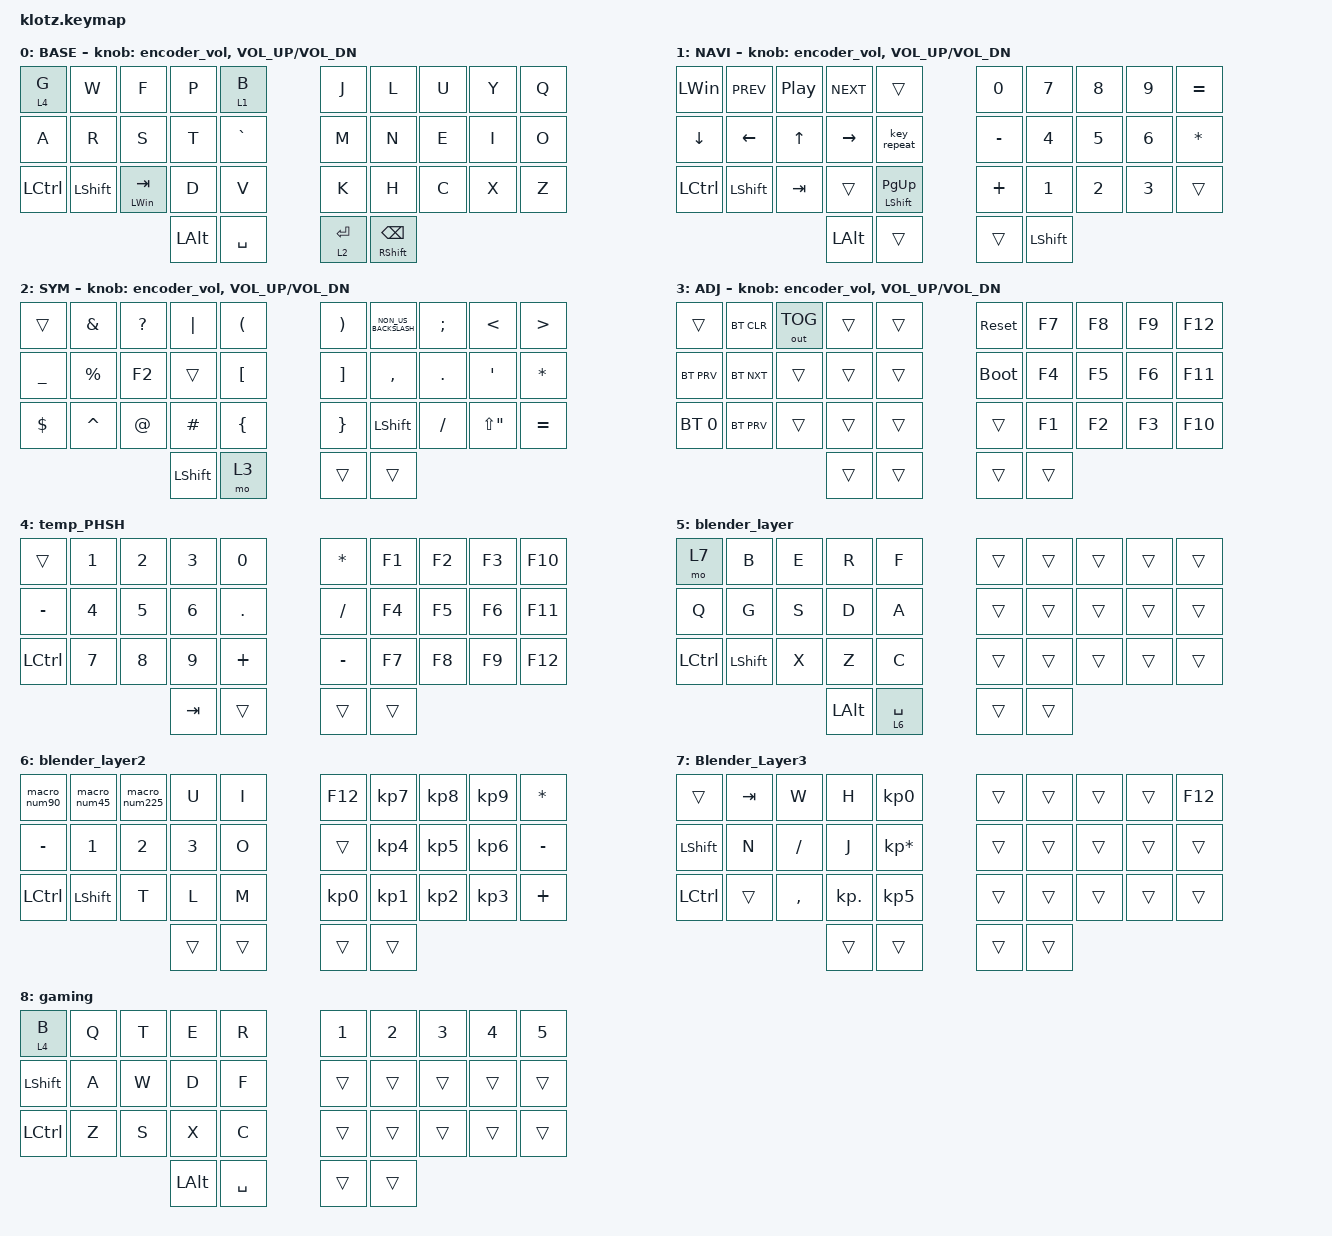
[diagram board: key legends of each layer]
#include <dt-bindings/zmk/mouse.h>
#include <behaviors.dtsi>
#include <dt-bindings/zmk/bt.h>
#include <dt-bindings/zmk/keys.h>
#include <dt-bindings/zmk/outputs.h>

#define BASE 0
#define MIRROR 1
#define NAV  2
#define SYM  3
#define ADJ  4
#define PHSH 5
#define PROG 6

&sl { /delete-property/ quick-release; };

&sk { quick-release; };

/ {
    combos {
        compatible = "zmk,combos";

        combo_esc {
            timeout-ms = <35>;
            key-positions = <0 1>;
            bindings = <&kp ESC>;
        };

        compatible = "zmk,combos";

        combo_bspc {
            timeout-ms = <35>;
            key-positions = <3 2>;
            bindings = <&kp BSPC>;
        };

        compatible = "zmk,combos";

        combo_del {
            timeout-ms = <35>;
            key-positions = <3 4>;
            bindings = <&kp DEL>;
        };

        compatible = "zmk,combos";

        combo_ctrlz {
            timeout-ms = <35>;
            key-positions = <20 21>;
            bindings = <&macro_crtlz>;
        };

        compatible = "zmk,combos";

        combo_ctrlshftz {
            timeout-ms = <35>;
            key-positions = <20 21 31>;
            bindings = <&macro_crtlshftz>;
        };

        compatible = "zmk,combos";

        combo_ctrlx {
            timeout-ms = <35>;
            key-positions = <21 22>;
            bindings = <&macro_crtlx>;
        };

        compatible = "zmk,combos";

        combo_ctrlc {
            timeout-ms = <35>;
            key-positions = <22 23>;
            bindings = <&macro_crtlc>;
        };

        compatible = "zmk,combos";

        combo_ctrlv {
            timeout-ms = <35>;
            key-positions = <21 23>;
            bindings = <&macro_crtlv>;
        };

        Enter {
            bindings = <&kp RET>;
            key-positions = <12 14>;
            timeout-ms = <35>;
        };

        ctrlshftv {
            bindings = <&macro_ctrlshftv>;
            key-positions = <23 21 30>;
            timeout-ms = <35>;
        };

        home {
            bindings = <&to 0>;
            key-positions = <0 31>;
            timeout-ms = <35>;
        };

        Combo_ctrlbkspc {
            bindings = <&Macro_ctrlbkspc>;
            key-positions = <1 2>;
            timeout-ms = <35>;
        };

        combo_ctrlj {
            bindings = <&macro_ctrlj>;
            key-positions = <24 23>;
            timeout-ms = <35>;
        };

        pausebreak_prnt {
            bindings = <&kp PRINTSCREEN>;
            key-positions = <4 12>;
            timeout-ms = <35>;
        };

        fullstop {
            bindings = <&kp PERIOD>;
            key-positions = <17 18>;
            timeout-ms = <35>;
        };

        comma {
            bindings = <&kp COMMA>;
            key-positions = <17 16>;
            timeout-ms = <35>;
        };

        exclaimation {
            bindings = <&kp EXCLAMATION>;
            key-positions = <8 6>;
            timeout-ms = <35>;
        };

        questionmark {
            bindings = <&kp QUESTION>;
            key-positions = <6 7>;
            timeout-ms = <35>;
        };

        colon {
            bindings = <&kp COLON>;
            key-positions = <18 16>;
            timeout-ms = <35>;
        };

        fwd_slash {
            bindings = <&kp SLASH>;
            key-positions = <5 6>;
            timeout-ms = <35>;
        };

        dash_undrscore {
            bindings = <&kp MINUS>;
            key-positions = <27 28>;
            timeout-ms = <35>;
        };

        apostrophe {
            bindings = <&kp APOSTROPHE>;
            key-positions = <8 7>;
        };

        underscore {
            bindings = <&kp UNDERSCORE>;
            key-positions = <28 26>;
            timeout-ms = <35>;
        };

        nav {
            bindings = <&to 1>;
            key-positions = <1 31>;
            timeout-ms = <35>;
        };

        combo_ctrlo {
            bindings = <&macro_ctrlo>;
            key-positions = <20 14>;
            timeout-ms = <35>;
        };

        combo_ctrln {
            bindings = <&macro_ctrln>;
            key-positions = <20 4>;
            timeout-ms = <35>;
        };

        blender {
            bindings = <&to 5>;
            key-positions = <10 31>;
            timeout-ms = <35>;
        };

        combo_ctrlq {
            bindings = <&macro_ctrlq>;
            key-positions = <0 20>;
            timeout-ms = <35>;
        };

        win_e {
            bindings = <&macro_win_e>;
            key-positions = <4 0>;
            timeout-ms = <35>;
        };

        combo_ctrlshftc {
            bindings = <&macro_ctrlshftc>;
            key-positions = <23 30 22>;
            timeout-ms = <35>;
        };

        gaming {
            bindings = <&to 8>;
            key-positions = <31 4>;
        };
    };

    macros {
        tabcw: tabcw {
            compatible = "zmk,behavior-macro";
            #binding-cells = <0>;
            bindings = <&macro_tap>, <&kp TAB>;
        };

        tabccw: tabccw {
            compatible = "zmk,behavior-macro";
            #binding-cells = <0>;
            bindings =
                <&macro_press>,
                <&kp LSHFT>,
                <&macro_tap>,
                <&kp TAB>,
                <&macro_release>,
                <&kp LSHFT>;
        };

        macro_crtlz: macro_ctrlz {
            compatible = "zmk,behavior-macro";
            #binding-cells = <0>;
            bindings =
                <&macro_press>,
                <&kp LCTRL>,
                <&macro_tap>,
                <&kp Z>,
                <&macro_release>,
                <&kp LCTRL>;
        };

        macro_crtlshftz: macro_ctrlshftz {
            compatible = "zmk,behavior-macro";
            #binding-cells = <0>;
            bindings =
                <&macro_press>,
                <&kp LCTRL>,
                <&macro_press>,
                <&kp LSHFT>,
                <&macro_tap>,
                <&kp Z>,
                <&macro_release>,
                <&kp LCTRL>,
                <&macro_release>,
                <&kp LSHFT>;
        };

        macro_crtlx: macro_ctrlx {
            compatible = "zmk,behavior-macro";
            #binding-cells = <0>;
            bindings =
                <&macro_press>,
                <&kp LCTRL>,
                <&macro_tap>,
                <&kp X>,
                <&macro_release>,
                <&kp LCTRL>;
        };

        macro_crtlc: macro_ctrlc {
            compatible = "zmk,behavior-macro";
            #binding-cells = <0>;
            bindings =
                <&macro_press>,
                <&kp LCTRL>,
                <&macro_tap>,
                <&kp C>,
                <&macro_release>,
                <&kp LCTRL>;
        };

        macro_crtlv: macro_ctrlv {
            compatible = "zmk,behavior-macro";
            #binding-cells = <0>;
            bindings =
                <&macro_press>,
                <&kp LCTRL>,
                <&macro_tap>,
                <&kp V>,
                <&macro_release>,
                <&kp LCTRL>;
        };

        macro_ctrlshftv: macro_ctrlshftv {
            compatible = "zmk,behavior-macro";
            #binding-cells = <0>;
            bindings =
                <&macro_press>,
                <&kp LCTRL>,
                <&macro_press>,
                <&kp LSHFT>,
                <&macro_tap>,
                <&kp V>,
                <&macro_release>,
                <&kp LCTRL>,
                <&macro_release>,
                <&kp LSHFT>;

            label = "MACRO_CTRLSHFTV";
        };

        macro_ctrlshftc: macro_ctrlshftc {
            compatible = "zmk,behavior-macro";
            #binding-cells = <0>;
            bindings =
                <&macro_press>,
                <&kp LCTRL>,
                <&macro_press>,
                <&kp LSHFT>,
                <&macro_tap>,
                <&kp C>,
                <&macro_release>,
                <&kp LCTRL>,
                <&macro_release>,
                <&kp LSHFT>;

            label = "MACRO_CTRLSHFTC";
        };

        Macro_ctrlbkspc: Macro_ctrlbkspc {
            compatible = "zmk,behavior-macro";
            #binding-cells = <0>;
            bindings =
                <&macro_press>,
                <&kp LCTRL>,
                <&macro_tap>,
                <&kp BACKSPACE>,
                <&macro_release>,
                <&kp LCTRL>;

            label = "MACRO_CTRLBKSPC";
        };

        macro_ctrlj: macro_ctrlj {
            compatible = "zmk,behavior-macro";
            #binding-cells = <0>;
            bindings =
                <&macro_press>,
                <&kp LCTRL>,
                <&macro_tap>,
                <&kp J>,
                <&macro_release>,
                <&kp LCTRL>;

            label = "MACRO_CTRLJ";
        };

        macro_ctrlo: macro_ctrlo {
            compatible = "zmk,behavior-macro";
            #binding-cells = <0>;
            bindings =
                <&macro_press>,
                <&kp LCTRL>,
                <&macro_tap>,
                <&kp O>,
                <&macro_release>,
                <&kp LCTRL>;

            label = "MACRO_CTRLO";
        };

        macro_ctrln: macro_ctrln {
            compatible = "zmk,behavior-macro";
            #binding-cells = <0>;
            bindings =
                <&macro_press>,
                <&kp LCTRL>,
                <&macro_tap>,
                <&kp N>,
                <&macro_release>,
                <&kp LCTRL>;

            label = "MACRO_CTRLN";
        };

        macro_num225: macro_num225 {
            compatible = "zmk,behavior-macro";
            #binding-cells = <0>;
            bindings = <&kp N2 &kp N2 &kp DOT &kp N5>;
            label = "MACRO_NUM225";
        };

        macro_num45: macro_num45 {
            compatible = "zmk,behavior-macro";
            #binding-cells = <0>;
            bindings = <&kp N4 &kp N5>;
            label = "MACRO_NUM45";
        };

        macro_num90: macro_num90 {
            compatible = "zmk,behavior-macro";
            #binding-cells = <0>;
            bindings = <&kp N9 &kp N0>;
            label = "MACRO_NUM90";
        };

        macro_ctrlq: macro_ctrlq {
            compatible = "zmk,behavior-macro";
            #binding-cells = <0>;
            bindings =
                <&macro_press>,
                <&kp LCTRL>,
                <&macro_tap>,
                <&kp Q>,
                <&macro_release>,
                <&kp LCTRL>;

            label = "MACRO_CTRLQ";
        };

        macro_alttab: macro_alttab {
            compatible = "zmk,behavior-macro";
            #binding-cells = <0>;
            bindings =
                <&macro_press>,
                <&kp LEFT_ALT>,
                <&macro_tap>,
                <&kp TAB>,
                <&macro_release>,
                <&kp LEFT_ALT>;

            label = "MACRO_ALTTAB";
        };

        macro_backward: macro_backward {
            compatible = "zmk,behavior-macro";
            #binding-cells = <0>;
            bindings =
                <&macro_press>,
                <&kp LEFT_ALT>,
                <&macro_tap>,
                <&kp LEFT>,
                <&macro_release>,
                <&kp LEFT_ALT>;

            label = "MACRO_BACKWARD";
        };

        macro_win_e: macro_win_e {
            compatible = "zmk,behavior-macro";
            #binding-cells = <0>;
            bindings =
                <&macro_press>,
                <&kp LEFT_WIN>,
                <&macro_tap>,
                <&kp E>,
                <&macro_release>,
                <&kp LEFT_WIN>;

            label = "MACRO_WIN_E";
        };
    };

    behaviors {
        encoder_vol: encoder_vol {
            compatible = "zmk,behavior-sensor-rotate";
            #sensor-binding-cells = <0>;
            bindings = <&kp C_VOL_UP>, <&kp C_VOL_DN>;

            label = "ENCODER_VOL";
        };

        ct: custom_tap {
            compatible = "zmk,behavior-hold-tap";
            #binding-cells = <2>;
            flavor = "balanced";
            bindings = <&kp>, <&kp>;

            tapping-term-ms = <200>;
            quick-tap-ms = <150>;
            require-prior-idle-ms = <100>;
        };
    };

    keymap {
        compatible = "zmk,keymap";

        // ▄▄▄▄▄▄▄▄▄▄▄▄▄▄▄▄▄▄▄▄▄▄▄▄▄▄▄▄▄▄▄▄▄▄▄▄▄▄▄▄▄▄▄▄▄▄▄▄▄▄▄▄▄▄▄▄▄▄▄▄▄▄▄▄▄▄▄▄▄▄▄▄▄▄▄▄▄▄▄▄▄▄▄▄▄▄▄▄▄▄▄▄▄▄▄▄▄▄▄▄▄▄▄▄▄▄▄▄▄▄▄▄▄▄▄▄▄▄▄▄▄▄▄▄▄

        base_layer {
            // ┏━━━━━━━━━━━━━━━━━━━━━━━━━━━━━━━━━━━━━━━┓

            display-name = "BASE";

            // ┗━━━━━━━━━━━━━━━━━━━━━━━━━━━━━━━━━━━━━━━┛
            // ┏━━━━━━━━━━━┳━━━━━━━━━━━┳━━━━━━━━━━━┳━━━━━━━━━━━┳━━━━━━━━━━━┓   ┏━━━━━━━━━━━┳━━━━━━━━━━━┳━━━━━━━━━━━┳━━━━━━━━━━━┳━━━━━━━━━━━┓
            // ┃    LGUI   ┃     W     ┃     F     ┃     P     ┃     B     ┃   ┃     J     ┃     L     ┃     U     ┃     Y     ┃     Q     ┃
            // ┣━━━━━━━━━━━╋━━━━━━━━━━━╋━━━━━━━━━━━╋━━━━━━━━━━━╋━━━━━━━━━━━┫   ┣━━━━━━━━━━━╋━━━━━━━━━━━╋━━━━━━━━━━━╋━━━━━━━━━━━╋━━━━━━━━━━━┫
            // ┃     A     ┃     R     ┃     S     ┃     T     ┃     G     ┃   ┃     M     ┃     N     ┃     E     ┃     I     ┃     O     ┃
            // ┣━━━━━━━━━━━╋━━━━━━━━━━━╋━━━━━━━━━━━╋━━━━━━━━━━━╋━━━━━━━━━━━┫   ┣━━━━━━━━━━━╋━━━━━━━━━━━╋━━━━━━━━━━━╋━━━━━━━━━━━╋━━━━━━━━━━━┫
            // ┃   LCTRL   ┃   LSHFT   ┃   LALT    ┃     D     ┃     V     ┃   ┃     K     ┃     H     ┃     C     ┃     X     ┃     Z     ┃
            // ┗━━━━━━━━━━━┻━━━━━━━━━━━┻━━━━━━━━━━━╋━━━━━━━━━━━╋━━━━━━━━━━━┫   ┣━━━━━━━━━━━╋━━━━━━━━━━━╋━━━━━━━━━━━┻━━━━━━━━━━━┻━━━━━━━━━━━┛
            //                                     ┃   ENTER   ┃    SPC    ┃   ┃    TAB    ┃   BSPC    ┃
            //                                     ┗━━━━━━━━━━━┻━━━━━━━━━━━┛   ┗━━━━━━━━━━━┻━━━━━━━━━━━┛

            bindings = <
  &lt 4 G    &kp W           &kp F             &kp P         &lt 1 B      &kp J        &kp L           &kp U  &kp Y  &kp Q
  &kp A      &kp R           &kp S             &kp T         &kp GRAVE    &kp M        &kp N           &kp E  &kp I  &kp O
  &kp LCTRL  &kp LEFT_SHIFT  &mt LEFT_WIN TAB  &kp D         &kp V        &kp K        &kp H           &kp C  &kp X  &kp Z
                                               &kp LEFT_ALT  &kp SPACE    &lt 2 ENTER  &ct RSHFT BSPC
            >;

            sensor-bindings = <&encoder_vol>, <&inc_dec_kp C_VOL_UP C_VOL_DN>;
        };

        nav_layer {
            // ┏━━━━━━━━━━━━━━━━━━━━━━━━━━━━━━━━━━━━━━━┓

            display-name = "NAVI";

            // ┗━━━━━━━━━━━━━━━━━━━━━━━━━━━━━━━━━━━━━━━┛
            // ┏━━━━━━━━━━━┳━━━━━━━━━━━┳━━━━━━━━━━━┳━━━━━━━━━━━┳━━━━━━━━━━━┓   ┏━━━━━━━━━━━┳━━━━━━━━━━━┳━━━━━━━━━━━┳━━━━━━━━━━━┳━━━━━━━━━━━┓
            // ┃  VOL UP   ┃   PREV    ┃PLAY/PAUSE ┃   NEXT    ┃   ESC     ┃   ┃     7     ┃     8     ┃     9     ┃     0     ┃    TAB    ┃
            // ┣━━━━━━━━━━━╋━━━━━━━━━━━╋━━━━━━━━━━━╋━━━━━━━━━━━╋━━━━━━━━━━━┫   ┣━━━━━━━━━━━╋━━━━━━━━━━━╋━━━━━━━━━━━╋━━━━━━━━━━━╋━━━━━━━━━━━┫
            // ┃  VOL DOWN ┃   LEFT    ┃    UP     ┃   RIGHT   ┃   LGUI    ┃   ┃     4     ┃     5     ┃     6     ┃    - _    ┃    + =    ┃
            // ┣━━━━━━━━━━━╋━━━━━━━━━━━╋━━━━━━━━━━━╋━━━━━━━━━━━╋━━━━━━━━━━━┫   ┣━━━━━━━━━━━╋━━━━━━━━━━━╋━━━━━━━━━━━╋━━━━━━━━━━━╋━━━━━━━━━━━┫
            // ┃   MUTE    ┃   ENTER   ┃   DOWN    ┃  P DOWN   ┃   P UP    ┃   ┃     1     ┃     2     ┃     3     ┃     *     ┃   PROG    ┃
            // ┗━━━━━━━━━━━┻━━━━━━━━━━━┻━━━━━━━━━━━╋━━━━━━━━━━━╋━━━━━━━━━━━┫   ┣━━━━━━━━━━━╋━━━━━━━━━━━╋━━━━━━━━━━━┻━━━━━━━━━━━┻━━━━━━━━━━━┛
            //                                     ┃   ENTER   ┃           ┃   ┃  ADJUST   ┃   PHSH    ┃  
            //                                     ┗━━━━━━━━━━━┻━━━━━━━━━━━┛   ┗━━━━━━━━━━━┻━━━━━━━━━━━┛

            bindings = <
  &kp LEFT_WIN  &kp C_PREV      &kp C_PP  &kp C_NEXT    &trans             &kp N0     &kp N7     &kp N8  &kp N9  &kp EQUAL
  &kp DOWN      &kp LEFT        &kp UP    &kp RIGHT     &key_repeat        &kp MINUS  &kp N4     &kp N5  &kp N6  &kp STAR
  &kp LCTRL     &kp LEFT_SHIFT  &kp TAB   &trans        &ct LSHFT PG_UP    &kp PLUS   &kp N1     &kp N2  &kp N3  &trans
                                          &kp LEFT_ALT  &trans             &trans     &kp LSHFT
            >;

            sensor-bindings = <&encoder_vol>, <&inc_dec_kp C_VOL_UP C_VOL_DN>;
        };

        sim_layer {
            // ┏━━━━━━━━━━━━━━━━━━━━━━━━━━━━━━━━━━━━━━━┓

            display-name = "SYM";

            // ┗━━━━━━━━━━━━━━━━━━━━━━━━━━━━━━━━━━━━━━━┛
            // ┏━━━━━━━━━━━┳━━━━━━━━━━━┳━━━━━━━━━━━┳━━━━━━━━━━━┳━━━━━━━━━━━┓   ┏━━━━━━━━━━━┳━━━━━━━━━━━┳━━━━━━━━━━━┳━━━━━━━━━━━┳━━━━━━━━━━━┓
            // ┃           ┃     &     ┃     *     ┃           ┃     {     ┃   ┃     }     ┃           ┃     :     ┃           ┃     ;     ┃
            // ┣━━━━━━━━━━━╋━━━━━━━━━━━╋━━━━━━━━━━━╋━━━━━━━━━━━╋━━━━━━━━━━━┫   ┣━━━━━━━━━━━╋━━━━━━━━━━━╋━━━━━━━━━━━╋━━━━━━━━━━━╋━━━━━━━━━━━┫
            // ┃           ┃     %     ┃     ?     ┃     ^     ┃     [     ┃   ┃     ]     ┃    \ |    ┃     '     ┃    "      ┃     ?     ┃
            // ┣━━━━━━━━━━━╋━━━━━━━━━━━╋━━━━━━━━━━━╋━━━━━━━━━━━╋━━━━━━━━━━━┫   ┣━━━━━━━━━━━╋━━━━━━━━━━━╋━━━━━━━━━━━╋━━━━━━━━━━━╋━━━━━━━━━━━┫
            // ┃     $     ┃     !     ┃     @     ┃     #     ┃     (     ┃   ┃     )     ┃           ┃     ,     ┃     .     ┃     /     ┃
            // ┗━━━━━━━━━━━┻━━━━━━━━━━━┻━━━━━━━━━━━╋━━━━━━━━━━━╋━━━━━━━━━━━┫   ┣━━━━━━━━━━━╋━━━━━━━━━━━╋━━━━━━━━━━━┻━━━━━━━━━━━┻━━━━━━━━━━━┛
            //                                     ┃   LSHFT   ┃  ADJUST   ┃   ┃           ┃           ┃   
            //                                     ┗━━━━━━━━━━━┻━━━━━━━━━━━┛   ┗━━━━━━━━━━━┻━━━━━━━━━━━┛

            bindings = <
  &trans     &kp AMPS   &kp QUESTION  &kp PIPE   &kp LEFT_PARENTHESIS    &kp RIGHT_PARENTHESIS  &kp NON_US_BACKSLASH  &kp SEMICOLON  &kp LESS_THAN  &kp GREATER_THAN
  &kp UNDER  &kp PRCNT  &kp F2        &trans     &kp LBKT                &kp RBKT               &kp COMMA             &kp DOT        &kp SQT        &kp ASTRK
  &kp DLLR   &kp CARET  &kp AT        &kp HASH   &kp LEFT_BRACE          &kp RIGHT_BRACE        &kp LSHFT             &kp FSLH       &kp LS(DQT)    &kp EQUAL
                                      &kp LSHFT  &mo 3                   &trans                 &trans
            >;

            sensor-bindings = <&encoder_vol>, <&inc_dec_kp C_VOL_UP C_VOL_DN>;
        };

        adjust_layer {
            // ┏━━━━━━━━━━━━━━━━━━━━━━━━━━━━━━━━━━━━━━━┓

            display-name = "ADJ";

            // ┗━━━━━━━━━━━━━━━━━━━━━━━━━━━━━━━━━━━━━━━┛
            // ┏━━━━━━━━━━━┳━━━━━━━━━━━┳━━━━━━━━━━━┳━━━━━━━━━━━┳━━━━━━━━━━━┓   ┏━━━━━━━━━━━┳━━━━━━━━━━━┳━━━━━━━━━━━┳━━━━━━━━━━━┳━━━━━━━━━━━┓
            // ┃   RESET   ┃ BT CLEAR  ┃  OUT TOG  ┃           ┃           ┃   ┃           ┃    F7     ┃    F8     ┃    F9     ┃    F12    ┃
            // ┣━━━━━━━━━━━╋━━━━━━━━━━━╋━━━━━━━━━━━╋━━━━━━━━━━━╋━━━━━━━━━━━┫   ┣━━━━━━━━━━━╋━━━━━━━━━━━╋━━━━━━━━━━━╋━━━━━━━━━━━╋━━━━━━━━━━━┫
            // ┃ BOOTLOAD  ┃ BT NEXT   ┃           ┃           ┃           ┃   ┃           ┃    F4     ┃    F5     ┃    F6     ┃    F11    ┃
            // ┣━━━━━━━━━━━╋━━━━━━━━━━━╋━━━━━━━━━━━╋━━━━━━━━━━━╋━━━━━━━━━━━┫   ┣━━━━━━━━━━━╋━━━━━━━━━━━╋━━━━━━━━━━━╋━━━━━━━━━━━╋━━━━━━━━━━━┫
            // ┃  BT 0     ┃ BT PREV   ┃           ┃           ┃           ┃   ┃           ┃    F1     ┃    F2     ┃    F3     ┃    F10    ┃
            // ┗━━━━━━━━━━━┻━━━━━━━━━━━┻━━━━━━━━━━━╋━━━━━━━━━━━╋━━━━━━━━━━━┫   ┣━━━━━━━━━━━╋━━━━━━━━━━━╋━━━━━━━━━━━┻━━━━━━━━━━━┻━━━━━━━━━━━┛
            //                                     ┃           ┃           ┃   ┃           ┃           ┃
            //                                     ┗━━━━━━━━━━━┻━━━━━━━━━━━┛   ┗━━━━━━━━━━━┻━━━━━━━━━━━┛

            bindings = <
  &trans        &bt BT_CLR  &out OUT_TOG  &trans  &trans    &sys_reset   &kp F7  &kp F8  &kp F9  &kp F12
  &bt BT_PRV    &bt BT_NXT  &trans        &trans  &trans    &bootloader  &kp F4  &kp F5  &kp F6  &kp F11
  &bt BT_SEL 0  &bt BT_PRV  &trans        &trans  &trans    &trans       &kp F1  &kp F2  &kp F3  &kp F10
                                          &trans  &trans    &trans       &trans
            >;

            sensor-bindings = <&encoder_vol>, <&inc_dec_kp C_VOL_UP C_VOL_DN>;
        };

        temp_PHSH {
            bindings = <
  &trans     &kp N1  &kp N2  &kp N3   &kp N0        &kp ASTERISK  &kp F1  &kp F2  &kp F3  &kp F10
  &kp MINUS  &kp N4  &kp N5  &kp N6   &kp PERIOD    &kp FSLH      &kp F4  &kp F5  &kp F6  &kp F11
  &kp LCTRL  &kp N7  &kp N8  &kp N9   &kp PLUS      &kp MINUS     &kp F7  &kp F8  &kp F9  &kp F12
                             &kp TAB  &trans        &trans        &trans
            >;
        };

        blender_layer {
            bindings = <
  &mo 7      &kp B      &kp E  &kp R     &kp F          &trans  &trans  &trans  &trans  &trans
  &kp Q      &kp G      &kp S  &kp D     &kp A          &trans  &trans  &trans  &trans  &trans
  &kp LCTRL  &kp LSHFT  &kp X  &kp Z     &kp C          &trans  &trans  &trans  &trans  &trans
                               &kp LALT  &lt 6 SPACE    &trans  &trans
            >;
        };

        blender_layer2 {
            bindings = <
  &macro_num90  &macro_num45  &macro_num225  &kp U   &kp I     &kp F12    &kp KP_NUMBER_7  &kp KP_NUMBER_8  &kp KP_N9        &kp ASTERISK
  &kp MINUS     &kp N1        &kp N2         &kp N3  &kp O     &trans     &kp KP_N4        &kp KP_NUMBER_5  &kp KP_NUMBER_6  &kp MINUS
  &kp LCTRL     &kp LSHFT     &kp T          &kp L   &kp M     &kp KP_N0  &kp KP_N1        &kp KP_N2        &kp KP_N3        &kp PLUS
                                             &trans  &trans    &trans     &trans
            >;
        };

        Blender_Layer3 {
            bindings = <
  &trans     &kp TAB  &kp W      &kp H       &kp KP_N0          &trans  &trans  &trans  &trans  &kp F12
  &kp LSHFT  &kp N    &kp FSLH   &kp J       &kp KP_ASTERISK    &trans  &trans  &trans  &trans  &trans
  &kp LCTRL  &trans   &kp COMMA  &kp KP_DOT  &kp KP_N5          &trans  &trans  &trans  &trans  &trans
                                 &trans      &trans             &trans  &trans
            >;
        };

        gaming {
            bindings = <
  &lt 4 B    &kp Q  &kp T  &kp E         &kp R        &kp N1  &kp N2  &kp N3  &kp N4  &kp N5
  &kp LSHFT  &kp A  &kp W  &kp D         &kp F        &trans  &trans  &trans  &trans  &trans
  &kp LCTRL  &kp Z  &kp S  &kp X         &kp C        &trans  &trans  &trans  &trans  &trans
                           &kp LEFT_ALT  &kp SPACE    &trans  &trans
            >;
        };
    };
};
